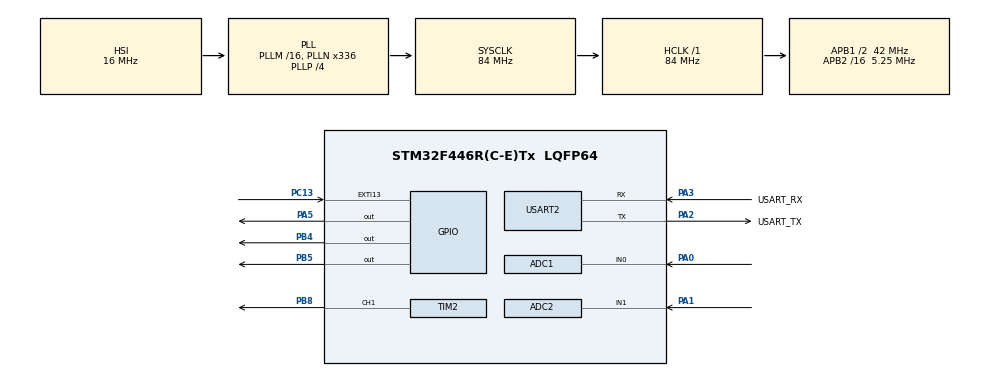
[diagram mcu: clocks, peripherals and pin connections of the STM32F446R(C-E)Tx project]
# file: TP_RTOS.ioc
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ADC1.Channel-4\#ChannelRegularConversion=ADC_CHANNEL_0
ADC1.ClockPrescaler=ADC_CLOCK_SYNC_PCLK_DIV8
ADC1.ContinuousConvMode=DISABLE
ADC1.NbrOfConversionFlag=1
ADC1.Rank-4\#ChannelRegularConversion=1
ADC1.SamplingTime-4\#ChannelRegularConversion=ADC_SAMPLETIME_3CYCLES
ADC1.ScanConvMode=ENABLE
ADC1.master=1
ADC2.Channel-1\#ChannelRegularConversion=ADC_CHANNEL_1
ADC2.ClockPrescaler=ADC_CLOCK_SYNC_PCLK_DIV8
ADC2.NbrOfConversionFlag=1
ADC2.Rank-1\#ChannelRegularConversion=1
ADC2.SamplingTime-1\#ChannelRegularConversion=ADC_SAMPLETIME_3CYCLES
ADC2.ScanConvMode=ENABLE
FREERTOS.Mutexes01=UARTMutex,Dynamic,NULL,Available;LED2Mutex,Dynamic,NULL,Available;ButtonMutex,Dynamic,NULL,Available
FREERTOS.Queues01=ComQueue,16,uint8_t,0,Dynamic,NULL,NULL
FREERTOS.Tasks01=defaultTask,24,128,StartDefaultTask,Default,NULL,Dynamic,NULL,NULL;dataAquisitionT,8,128,StartDataAquisitionTask,Default,NULL,Dynamic,NULL,NULL
Mcu.Family=STM32F4
Mcu.Name=STM32F446R(C-E)Tx
Mcu.Package=LQFP64
NUCLEO-F446RE.BUTTON=1
NUCLEO-F446RE.LD1=true
NVIC.EXTI15_10_IRQn=true\:5\:0\:false\:false\:true\:true\:false\:true\:true
NVIC.PriorityGroup=NVIC_PRIORITYGROUP_4
NVIC.TIM1_UP_TIM10_IRQn=true\:15\:0\:false\:false\:true\:false\:false\:true\:true
NVIC.TimeBase=TIM1_UP_TIM10_IRQn
NVIC.TimeBaseIP=TIM1
PA0-WKUP.Signal=ADCx_IN0
PA1.Signal=ADCx_IN1
PA13.GPIO_Label=TMS
PA13.Signal=SYS_JTMS-SWDIO
PA14.GPIO_Label=TCK
PA14.Signal=SYS_JTCK-SWCLK
PA2.GPIO_Label=USART_TX
PA2.Mode=Asynchronous
PA2.Signal=USART2_TX
PA3.GPIO_Label=USART_RX
PA3.Mode=Asynchronous
PA3.Signal=USART2_RX
PA5.Signal=GPIO_Output
PB3.GPIO_Label=SWO
PB3.Signal=SYS_JTDO-SWO
PB4.GPIO_PuPd=GPIO_PULLDOWN
PB4.Signal=GPIO_Output
PB5.GPIO_ModeDefaultOutputPP=GPIO_MODE_OUTPUT_PP
PB5.GPIO_PuPd=GPIO_PULLDOWN
PB5.Signal=GPIO_Output
PB8.Signal=S_TIM2_CH1_ETR
PC13.Signal=GPXTI13
PC14-OSC32_IN.Signal=RCC_OSC32_IN
PC15-OSC32_OUT.Signal=RCC_OSC32_OUT
PH0-OSC_IN.Signal=RCC_OSC_IN
PH1-OSC_OUT.Signal=RCC_OSC_OUT
ProjectManager.HeapSize=0x200
ProjectManager.StackSize=0x400
ProjectManager.TargetToolchain=CMake
RCC.AHBFreq_Value=84000000
RCC.APB1CLKDivider=RCC_HCLK_DIV2
RCC.APB1Freq_Value=42000000
RCC.APB1TimFreq_Value=84000000
RCC.APB2CLKDivider=RCC_HCLK_DIV16
RCC.APB2Freq_Value=5250000
RCC.APB2TimFreq_Value=10500000
RCC.CortexFreq_Value=84000000
RCC.FLatency-AdvancedSettings=FLASH_LATENCY_2
RCC.HCLKFreq_Value=84000000
RCC.HSE_VALUE=8000000
RCC.HSI_VALUE=16000000
RCC.LSE_VALUE=32768
RCC.PLLN=336
RCC.PLLP=RCC_PLLP_DIV4
RCC.SYSCLKFreq_VALUE=84000000
RCC.SYSCLKSource=RCC_SYSCLKSOURCE_PLLCLK
RCC.USBFreq_Value=168000000
RCC.VCOOutputFreq_Value=336000000
SH.ADCx_IN0.0=ADC1_IN0,IN0
SH.ADCx_IN1.0=ADC2_IN1,IN1
SH.S_TIM2_CH1_ETR.0=TIM2_CH1,PWM Generation1 CH1
TIM2.AutoReloadPreload=TIM_AUTORELOAD_PRELOAD_DISABLE
TIM2.Channel-PWM\ Generation1\ CH1=TIM_CHANNEL_1
TIM2.Period=100 - 1
TIM2.Prescaler=84 - 1
USART2.VirtualMode=VM_ASYNC
VP_FREERTOS_VS_CMSIS_V2.Mode=CMSIS_V2
VP_NUCLEO-F446RE_VS_BSP_COMMON.Mode=COMMON
VP_RTC_VS_RTC_Activate.Mode=RTC_Enabled
VP_SYS_VS_tim1.Mode=TIM1
board=NUCLEO-F446RE

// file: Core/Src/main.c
/* USER CODE BEGIN Header */
/**
  ******************************************************************************
  * @file           : main.c
  * @brief          : Main program body
  ******************************************************************************
  * @attention
  *
  * Copyright (c) 2026 STMicroelectronics.
  * All rights reserved.
  *
  * This software is licensed under terms that can be found in the LICENSE file
  * in the root directory of this software component.
  * If no LICENSE file comes with this software, it is provided AS-IS.
  *
  ******************************************************************************
  */
/* USER CODE END Header */
#include "main.h"
#include "cmsis_os.h"
#include "adc.h"
#include "rtc.h"
#include "tim.h"
#include "usart.h"
#include "gpio.h"

void SystemClock_Config(void);
void MX_FREERTOS_Init(void);

int main(void)
{

  /* USER CODE BEGIN 1 */

  // GPIO config for the motor driver
  /* USER CODE END 1 */

  /* MCU Configuration--------------------------------------------------------*/

  /* Reset of all peripherals, Initializes the Flash interface and the Systick. */
  HAL_Init();

  /* Configure the system clock */
  SystemClock_Config();

  /* Initialize all configured peripherals */
  MX_GPIO_Init();
  MX_USART2_UART_Init();
  MX_TIM2_Init();
  MX_ADC1_Init();
  MX_RTC_Init();
  MX_ADC2_Init();

  /* Init scheduler */
  osKernelInitialize();  /* Call init function for freertos objects (in cmsis_os2.c) */
  MX_FREERTOS_Init();

  /* Initialize leds */
  BSP_LED_Init(LED2);

  /* Initialize USER push-button, will be used to trigger an interrupt each time it's pressed.*/
  BSP_PB_Init(BUTTON_USER, BUTTON_MODE_EXTI);

  /* Start scheduler */
  osKernelStart();

  /* We should never get here as control is now taken by the scheduler */

  /* Infinite loop */
  while (1)
  {

  }
}

void SystemClock_Config(void)
{
  RCC_OscInitTypeDef RCC_OscInitStruct = {0};
  RCC_ClkInitTypeDef RCC_ClkInitStruct = {0};

  /** Configure the main internal regulator output voltage
  */
  __HAL_RCC_PWR_CLK_ENABLE();
  __HAL_PWR_VOLTAGESCALING_CONFIG(PWR_REGULATOR_VOLTAGE_SCALE3);

  /** Initializes the RCC Oscillators according to the specified parameters
  * in the RCC_OscInitTypeDef structure.
  */
  RCC_OscInitStruct.OscillatorType = RCC_OSCILLATORTYPE_HSI|RCC_OSCILLATORTYPE_LSI;
  RCC_OscInitStruct.LSEState = RCC_LSE_OFF;
  RCC_OscInitStruct.HSIState = RCC_HSI_ON;
  RCC_OscInitStruct.HSICalibrationValue = RCC_HSICALIBRATION_DEFAULT;
  RCC_OscInitStruct.LSIState = RCC_LSI_ON;
  RCC_OscInitStruct.PLL.PLLState = RCC_PLL_ON;
  RCC_OscInitStruct.PLL.PLLSource = RCC_PLLSOURCE_HSI;
  RCC_OscInitStruct.PLL.PLLM = 16;
  RCC_OscInitStruct.PLL.PLLN = 336;
  RCC_OscInitStruct.PLL.PLLP = RCC_PLLP_DIV4;
  RCC_OscInitStruct.PLL.PLLQ = 2;
  RCC_OscInitStruct.PLL.PLLR = 2;
  if (HAL_RCC_OscConfig(&RCC_OscInitStruct) != HAL_OK)
  {
    Error_Handler();
  }

  /** Initializes the CPU, AHB and APB buses clocks
  */
  RCC_ClkInitStruct.ClockType = RCC_CLOCKTYPE_HCLK|RCC_CLOCKTYPE_SYSCLK
                              |RCC_CLOCKTYPE_PCLK1|RCC_CLOCKTYPE_PCLK2;
  RCC_ClkInitStruct.SYSCLKSource = RCC_SYSCLKSOURCE_PLLCLK;
  RCC_ClkInitStruct.AHBCLKDivider = RCC_SYSCLK_DIV1;
  RCC_ClkInitStruct.APB1CLKDivider = RCC_HCLK_DIV2;
  RCC_ClkInitStruct.APB2CLKDivider = RCC_HCLK_DIV16;

  if (HAL_RCC_ClockConfig(&RCC_ClkInitStruct, FLASH_LATENCY_2) != HAL_OK)
  {
    Error_Handler();
  }
}

void HAL_TIM_PeriodElapsedCallback(TIM_HandleTypeDef *htim)
{
  if (htim->Instance == TIM1)
  {
    HAL_IncTick();
  }
}

void Error_Handler(void)
{
  __disable_irq();
  while (1)
  {
  }
}

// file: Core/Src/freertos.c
/* USER CODE BEGIN Header */
/**
  ******************************************************************************
  * File Name          : freertos.c
  * Description        : Code for freertos applications
  ******************************************************************************
  * @attention
  *
  * Copyright (c) 2026 STMicroelectronics.
  * All rights reserved.
  *
  * This software is licensed under terms that can be found in the LICENSE file
  * in the root directory of this software component.
  * If no LICENSE file comes with this software, it is provided AS-IS.
  *
  ******************************************************************************
  */
/* USER CODE END Header */

#include "FreeRTOS.h"
#include "task.h"
#include "main.h"
#include "cmsis_os.h"

/* USER CODE BEGIN Includes */
#include "stm32f4xx_hal.h"  // this include must be compiled ASAP to defined the struct HAL_StatusTypeDef
#include "stm32f4xx_hal_gpio.h"
#include "usart.h"
#include "stdbool.h"
#include "tim.h"
#include <stdint.h>
#include <stdio.h>
#include <string.h>
#include "adc.h"
#include "rtc.h"
#include "gpio.h"
/* USER CODE END Includes */

/* USER CODE BEGIN Variables */
uint32_t response_array[1000];
uint32_t time_array[1000];

/* USER CODE END Variables */
/* Definitions for defaultTask */
osThreadId_t defaultTaskHandle;
const osThreadAttr_t defaultTask_attributes = {
  .name = "defaultTask",
  .stack_size = 128 * 4,
  .priority = (osPriority_t) osPriorityNormal,
};
/* Definitions for dataAquisitionT */
osThreadId_t dataAquisitionTHandle;
const osThreadAttr_t dataAquisitionT_attributes = {
  .name = "dataAquisitionT",
  .stack_size = 128 * 4,
  .priority = (osPriority_t) osPriorityLow,
};
/* Definitions for ComQueue */
osMessageQueueId_t ComQueueHandle;
const osMessageQueueAttr_t ComQueue_attributes = {
  .name = "ComQueue"
};
/* Definitions for UARTMutex */
osMutexId_t UARTMutexHandle;
const osMutexAttr_t UARTMutex_attributes = {
  .name = "UARTMutex"
};
/* Definitions for LED2Mutex */
osMutexId_t LED2MutexHandle;
const osMutexAttr_t LED2Mutex_attributes = {
  .name = "LED2Mutex"
};
/* Definitions for ButtonMutex */
osMutexId_t ButtonMutexHandle;
const osMutexAttr_t ButtonMutex_attributes = {
  .name = "ButtonMutex"
};

/* USER CODE BEGIN FunctionPrototypes */
void LED2_Blink(uint16_t rate);
void LED2_SOS(void);
void pwm_response(void);
void step_response(uint8_t duty);

/* USER CODE END FunctionPrototypes */

void StartDefaultTask(void *argument);
void StartDataAquisitionTask(void *argument);

void MX_FREERTOS_Init(void); /* (MISRA C 2004 rule 8.1) */

void MX_FREERTOS_Init(void) {
  /* Create the mutex(es) */
  /* creation of UARTMutex */
  UARTMutexHandle = osMutexNew(&UARTMutex_attributes);

  /* creation of LED2Mutex */
  LED2MutexHandle = osMutexNew(&LED2Mutex_attributes);

  /* creation of ButtonMutex */
  ButtonMutexHandle = osMutexNew(&ButtonMutex_attributes);

  /* Create the queue(s) */
  /* creation of ComQueue */
  ComQueueHandle = osMessageQueueNew (16, sizeof(uint8_t), &ComQueue_attributes);

  /* Create the thread(s) */
  /* creation of defaultTask */
  defaultTaskHandle = osThreadNew(StartDefaultTask, NULL, &defaultTask_attributes);

  /* creation of dataAquisitionT */
  dataAquisitionTHandle = osThreadNew(StartDataAquisitionTask, NULL, &dataAquisitionT_attributes);

}

void StartDefaultTask(void *argument)
{
  for (;;)
  {
    osDelay(1);
  }
}

void StartDataAquisitionTask(void *argument)
{
  /* USER CODE BEGIN StartDataAquisitionTask */
  /* Infinite loop */
  for(;;)
  {
    uint8_t testDuty = 10;
    pwm_response();
    osDelay(1000);
    __HAL_TIM_SET_COMPARE(&htim2, TIM_CHANNEL_1, 0);
    osDelay(10000);
  }
  /* USER CODE END StartDataAquisitionTask */
}

/* USER CODE BEGIN Application */
void LED2_Blink(uint16_t rate)
{

  osDelay(rate);
  while(osMutexAcquire(LED2MutexHandle, osWaitForever) != osOK);
  HAL_GPIO_TogglePin(LED2_GPIO_PORT, LED2_PIN);
  osMutexRelease(LED2MutexHandle);
}

void LED2_SOS(void)
{
  while(osMutexAcquire(LED2MutexHandle, osWaitForever) != osOK);
  HAL_GPIO_WritePin(LED2_GPIO_PORT, LED2_PIN, GPIO_PIN_RESET);
  osDelay(500); // Initial delay before starting SOS pattern
  // SOS in Morse code: ... --- ...
  for (int i = 0; i < 6; i++) {
    HAL_GPIO_TogglePin(LED2_GPIO_PORT, LED2_PIN);
    osDelay(200); // Short blink
  }
  osDelay(600); // Pause between letters
  for (int i = 0; i < 3; i++) {
    HAL_GPIO_TogglePin(LED2_GPIO_PORT, LED2_PIN);
    osDelay(600); // Long blink
    HAL_GPIO_WritePin(LED2_GPIO_PORT, LED2_PIN, GPIO_PIN_RESET);
    osDelay(200); // Short pause
  }
  osDelay(600); // Pause between letters
  for (int i = 0; i < 6; i++) {
    HAL_GPIO_TogglePin(LED2_GPIO_PORT, LED2_PIN);
    osDelay(200); // Short blink
  }
  osDelay(1000); // Pause before repeating
  osMutexRelease(LED2MutexHandle);
}

void pwm_response(void)
{
  uint32_t  raw_responce = 0;
  HAL_TIM_PWM_Start(&htim2, TIM_CHANNEL_1);
  char msg[] = "duty cycle, 000, raw response, 00000\r\n";
  for (size_t i = 0; i < 70; i++)
  {
    // PWM duty = CCR/ARR -> ARR = 100-1 so CCR = duty %
    // + prescaler = 84-1 for 84 MHz clock
    __HAL_TIM_SET_COMPARE(&htim2, TIM_CHANNEL_1, i);
    osDelay(250);
    HAL_ADC_Start(&hadc1);
    HAL_ADC_PollForConversion(&hadc1, HAL_MAX_DELAY);
    raw_responce = HAL_ADC_GetValue(&hadc1);
    HAL_ADC_Stop(&hadc1);
    sprintf(msg, "duty cycle, %3d, raw response, %5d\r\n",(int) i, (int)raw_responce);
    HAL_UART_Transmit(&huart2, (uint8_t *)msg, sizeof(msg)-1, HAL_MAX_DELAY);
  }
}

void step_response(uint8_t duty)
{
  uint32_t  raw_responce = 0;
  HAL_TIM_PWM_Start(&htim2, TIM_CHANNEL_1);
  char res_msg[] = " raw response, 00000\r\n";
  char timestamp_msg[] = "000000 ,";
  __HAL_TIM_SET_COMPARE(&htim2, TIM_CHANNEL_1, 0);
  HAL_ADC_Start(&hadc1);
  HAL_ADC_PollForConversion(&hadc1, HAL_MAX_DELAY);
  raw_responce = HAL_ADC_GetValue(&hadc1);
  HAL_ADC_Stop(&hadc1);
  sprintf(res_msg, " raw response, %05d\r\n", (int)raw_responce);
  HAL_UART_Transmit(&huart2, (uint8_t *)res_msg, sizeof(res_msg)-1, HAL_MAX_DELAY);
  __HAL_TIM_SET_COMPARE(&htim2, TIM_CHANNEL_1, duty); // duty%
  for (size_t i = 0; i < 501; i++)
  {
    HAL_ADC_Start(&hadc1);
    HAL_ADC_PollForConversion(&hadc1, HAL_MAX_DELAY);
    raw_responce = HAL_ADC_GetValue(&hadc1);
    HAL_ADC_Stop(&hadc1);
    response_array[i] = raw_responce;
    osDelay(1); // 1ms
  }
  for (size_t i = 0; i < 501; i++)
  {
    sprintf(timestamp_msg, "%06d", (int) i);
    HAL_UART_Transmit(&huart2, (uint8_t *)timestamp_msg, sizeof(timestamp_msg)-1, HAL_MAX_DELAY);
    osDelay(1);
    sprintf(res_msg, " raw response, %05d\r\n", (int)response_array[i]);
    HAL_UART_Transmit(&huart2, (uint8_t *)res_msg, sizeof(res_msg)-1, HAL_MAX_DELAY);
  }
  osDelay(1); // for breakpoint
}

/* USER CODE END Application */
